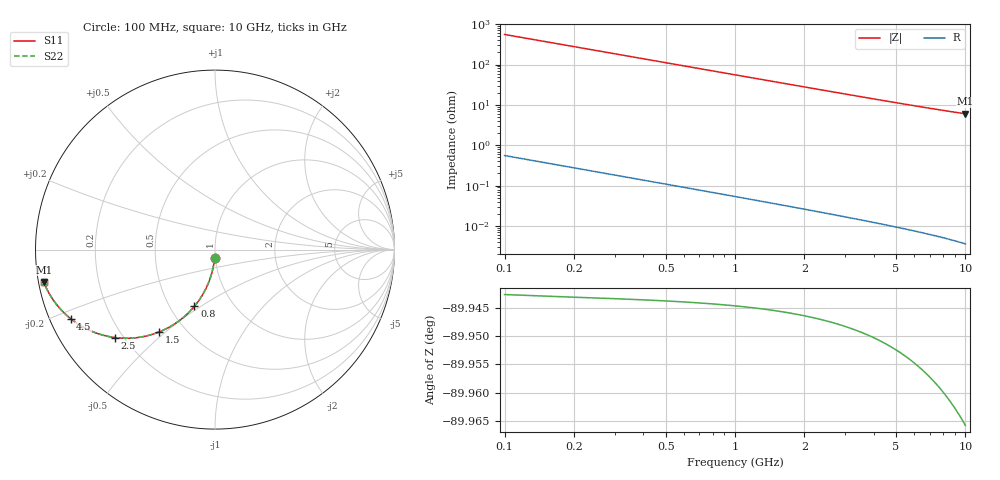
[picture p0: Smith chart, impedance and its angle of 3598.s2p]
# Hz S RI R 50.00
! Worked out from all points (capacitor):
!   100 points, 100 MHz to 10 GHz, reference 50 ohm
!   read as one part in shunt: C = 2.86 pF near 100 MHz
!   lowest |Z| = 6.03 ohm at 10 GHz (marker M1)
!   S11 on the Smith chart (normalised r, x): 100 MHz: 0.99, -0.09; 800 MHz: 0.66, -0.47; 1.5 GHz: 0.36, -0.48; 2.5 GHz: 0.17, -0.37; 4.5 GHz: 0.06, -0.23; 10 GHz: 0.01, -0.09
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1e8  -0.00197 -0.0446  0.9979 -0.0451  0.9979 -0.0451  -0.00197 -0.0446
2e8  -0.00802 -0.0887  0.9918 -0.0897  0.9918 -0.0897  -0.00802 -0.0887
3e8  -0.0179 -0.1317  0.9819 -0.1331  0.9819 -0.1331  -0.0179 -0.1317
4e8  -0.0314 -0.1731  0.9684 -0.1751  0.9684 -0.1751  -0.0314 -0.1731
5e8  -0.0482 -0.2126  0.9516 -0.2151  0.9516 -0.2151  -0.0482 -0.2126
6e8  -0.0679 -0.2498  0.9319 -0.2528  0.9319 -0.2528  -0.0679 -0.2498
8e8  -0.1147 -0.3163  0.8851 -0.3202  0.8851 -0.3202  -0.1147 -0.3163
9e8  -0.1408 -0.3453  0.859 -0.3496  0.859 -0.3496  -0.1408 -0.3453
1.1e9  -0.1967 -0.3944  0.8031 -0.3997  0.8031 -0.3997  -0.1967 -0.3944
1.3e9  -0.2548 -0.4321  0.745 -0.4385  0.745 -0.4385  -0.2548 -0.4321
1.5e9  -0.3128 -0.4595  0.687 -0.4668  0.687 -0.4668  -0.3128 -0.4595
1.8e9  -0.396 -0.4842  0.6038 -0.493  0.6038 -0.493  -0.396 -0.4842
2.1e9  -0.4716 -0.4936  0.5281 -0.5038  0.5281 -0.5038  -0.4716 -0.4936
2.5e9  -0.5586 -0.4899  0.4411 -0.5021  0.4411 -0.5021  -0.5586 -0.4899
2.9e9  -0.6302 -0.4751  0.3695 -0.4893  0.3695 -0.4893  -0.6302 -0.4751
3.4e9  -0.7011 -0.4488  0.2985 -0.4655  0.2985 -0.4655  -0.7011 -0.4488
3.9e9  -0.7556 -0.4195  0.244 -0.4387  0.244 -0.4387  -0.7556 -0.4195
4.5e9  -0.8049 -0.3844  0.1947 -0.4067  0.1947 -0.4067  -0.8049 -0.3844
5.1e9  -0.8416 -0.3517  0.1579 -0.377  0.1579 -0.377  -0.8416 -0.3517
6.7e9  -0.9025 -0.2787  0.0968 -0.3125  0.0968 -0.3125  -0.9025 -0.2787
8.4e9  -0.9363 -0.2211  0.0625 -0.264  0.0625 -0.264  -0.9363 -0.2211
1e10  -0.9547 -0.1796  0.0437 -0.2316  0.0437 -0.2316  -0.9547 -0.1796
